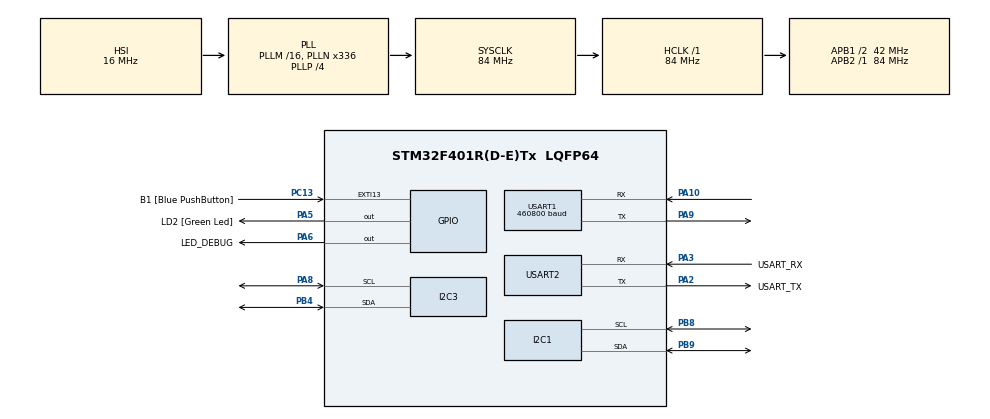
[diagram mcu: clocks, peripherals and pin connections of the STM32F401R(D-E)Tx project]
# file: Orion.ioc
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Dma.Request0=USART1_RX
Dma.Request1=USART1_TX
Dma.USART1_RX.0.Direction=DMA_PERIPH_TO_MEMORY
Dma.USART1_RX.0.FIFOMode=DMA_FIFOMODE_DISABLE
Dma.USART1_RX.0.Instance=DMA2_Stream2
Dma.USART1_RX.0.MemDataAlignment=DMA_MDATAALIGN_BYTE
Dma.USART1_RX.0.MemInc=DMA_MINC_ENABLE
Dma.USART1_RX.0.Mode=DMA_CIRCULAR
Dma.USART1_RX.0.PeriphDataAlignment=DMA_PDATAALIGN_BYTE
Dma.USART1_RX.0.PeriphInc=DMA_PINC_DISABLE
Dma.USART1_RX.0.Priority=DMA_PRIORITY_LOW
Dma.USART1_TX.1.Direction=DMA_MEMORY_TO_PERIPH
Dma.USART1_TX.1.FIFOMode=DMA_FIFOMODE_DISABLE
Dma.USART1_TX.1.Instance=DMA2_Stream7
Dma.USART1_TX.1.MemDataAlignment=DMA_MDATAALIGN_BYTE
Dma.USART1_TX.1.MemInc=DMA_MINC_ENABLE
Dma.USART1_TX.1.Mode=DMA_NORMAL
Dma.USART1_TX.1.PeriphDataAlignment=DMA_PDATAALIGN_BYTE
Dma.USART1_TX.1.PeriphInc=DMA_PINC_DISABLE
Dma.USART1_TX.1.Priority=DMA_PRIORITY_LOW
FREERTOS.Mutexes01=cmdMutex,Dynamic,NULL,Available;imuMutex,Dynamic,NULL,Available;batteryMutex,Dynamic,NULL,Available
FREERTOS.Tasks01=controlTask,48,256,StartControlTask,Default,NULL,Dynamic,NULL,NULL;imuTask,8,256,StartIMUTask,Default,NULL,Dynamic,NULL,NULL;rxCommTask,40,128,StartRxCommTask,Default,NULL,Dynamic,NULL,NULL;batteryTask,9,256,StartBatteryTask,Default,NULL,Dynamic,NULL,NULL;txCommTask,24,128,StartTxCommTask,Default,NULL,Dynamic,NULL,NULL
FREERTOS.configENABLE_FPU=1
I2C1.I2C_Mode=I2C_Fast
I2C3.I2C_Mode=I2C_Fast
Mcu.Family=STM32F4
Mcu.Name=STM32F401R(D-E)Tx
Mcu.Package=LQFP64
NVIC.DMA2_Stream2_IRQn=true\:5\:0\:false\:false\:true\:true\:false\:true\:true
NVIC.DMA2_Stream7_IRQn=true\:5\:0\:false\:false\:true\:true\:false\:true\:true
NVIC.PriorityGroup=NVIC_PRIORITYGROUP_4
NVIC.TIM2_IRQn=true\:15\:0\:false\:false\:true\:false\:false\:true\:true
NVIC.TimeBase=TIM2_IRQn
NVIC.TimeBaseIP=TIM2
NVIC.USART1_IRQn=true\:5\:0\:false\:false\:true\:true\:true\:true\:true
PA0-WKUP.GPIO_Label=PWM2/1_Buzzer
PA0-WKUP.Signal=S_TIM2_CH1_ETR
PA10.Mode=Asynchronous
PA10.Signal=USART1_RX
PA13.GPIO_Label=TMS
PA13.Mode=Trace_Asynchronous_SW
PA13.Signal=SYS_JTMS-SWDIO
PA14.GPIO_Label=TCK
PA14.Mode=Trace_Asynchronous_SW
PA14.Signal=SYS_JTCK-SWCLK
PA2.GPIO_Label=USART_TX
PA2.GPIO_Mode=GPIO_MODE_AF_PP
PA2.GPIO_PuPd=GPIO_NOPULL
PA2.GPIO_Speed=GPIO_SPEED_FREQ_LOW
PA2.Mode=Asynchronous
PA2.Signal=USART2_TX
PA3.GPIO_Label=USART_RX
PA3.GPIO_Mode=GPIO_MODE_AF_PP
PA3.GPIO_PuPd=GPIO_NOPULL
PA3.GPIO_Speed=GPIO_SPEED_FREQ_LOW
PA3.Mode=Asynchronous
PA3.Signal=USART2_RX
PA5.GPIO_Label=LD2 [Green Led]
PA5.GPIO_Mode=GPIO_MODE_OUTPUT_PP
PA5.GPIO_PuPd=GPIO_NOPULL
PA5.GPIO_Speed=GPIO_SPEED_FREQ_LOW
PA5.Signal=GPIO_Output
PA6.GPIO_Label=LED_DEBUG
PA6.Signal=GPIO_Output
PA8.Mode=I2C
PA8.Signal=I2C3_SCL
PA9.Mode=Asynchronous
PA9.Signal=USART1_TX
PB3.GPIO_Label=SWO
PB3.Mode=Trace_Asynchronous_SW
PB3.Signal=SYS_JTDO-SWO
PB4.Mode=I2C
PB4.Signal=I2C3_SDA
PB8.Mode=I2C
PB8.Signal=I2C1_SCL
PB9.Mode=I2C
PB9.Signal=I2C1_SDA
PC13-ANTI_TAMP.GPIO_Label=B1 [Blue PushButton]
PC13-ANTI_TAMP.GPIO_ModeDefaultEXTI=GPIO_MODE_IT_FALLING
PC13-ANTI_TAMP.GPIO_PuPd=GPIO_NOPULL
PC13-ANTI_TAMP.Signal=GPXTI13
PC14-OSC32_IN.Mode=LSE-External-Oscillator
PC14-OSC32_IN.Signal=RCC_OSC32_IN
PC15-OSC32_OUT.Mode=LSE-External-Oscillator
PC15-OSC32_OUT.Signal=RCC_OSC32_OUT
PH0\ -\ OSC_IN.Mode=HSE-External-Clock-Source
PH0\ -\ OSC_IN.Signal=RCC_OSC_IN
PH1\ -\ OSC_OUT.Mode=HSE-External-Clock-Source
PH1\ -\ OSC_OUT.Signal=RCC_OSC_OUT
ProjectManager.HeapSize=0x200
ProjectManager.StackSize=0x400
ProjectManager.TargetToolchain=CMake
RCC.48MHZClocksFreq_Value=48000000
RCC.AHBFreq_Value=84000000
RCC.APB1CLKDivider=RCC_HCLK_DIV2
RCC.APB1Freq_Value=42000000
RCC.APB1TimFreq_Value=84000000
RCC.APB2Freq_Value=84000000
RCC.APB2TimFreq_Value=84000000
RCC.CortexFreq_Value=84000000
RCC.HCLKFreq_Value=84000000
RCC.HSE_VALUE=8000000
RCC.HSI_VALUE=16000000
RCC.PLLN=336
RCC.PLLP=RCC_PLLP_DIV4
RCC.PLLQ=7
RCC.SYSCLKFreq_VALUE=84000000
RCC.SYSCLKSource=RCC_SYSCLKSOURCE_PLLCLK
RCC.VCOOutputFreq_Value=336000000
SH.S_TIM2_CH1_ETR.0=TIM2_CH1
USART1.BaudRate=460800
USART1.VirtualMode=VM_ASYNC
USART2.VirtualMode=VM_ASYNC
VP_FREERTOS_VS_CMSIS_V2.Mode=CMSIS_V2
VP_SYS_VS_tim2.Mode=TIM2
board=NUCLEO-F401RE

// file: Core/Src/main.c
/* USER CODE BEGIN Header */
/**
  ******************************************************************************
  * @file           : main.c
  * @brief          : Main program body
  ******************************************************************************
  * @attention
  *
  * Copyright (c) 2025 STMicroelectronics.
  * All rights reserved.
  *
  * This software is licensed under terms that can be found in the LICENSE file
  * in the root directory of this software component.
  * If no LICENSE file comes with this software, it is provided AS-IS.
  *
  ******************************************************************************
  */
/* USER CODE END Header */
#include "main.h"
#include "cmsis_os.h"
#include "dma.h"
#include "i2c.h"
#include "usart.h"
#include "gpio.h"

void SystemClock_Config(void);
void MX_FREERTOS_Init(void);

int main(void)
{

  /* MCU Configuration--------------------------------------------------------*/

  /* Reset of all peripherals, Initializes the Flash interface and the Systick. */
  HAL_Init();

  /* Configure the system clock */
  SystemClock_Config();

  /* Initialize all configured peripherals */
  MX_GPIO_Init();
  MX_DMA_Init();
  MX_USART2_UART_Init();
  MX_I2C1_Init();
  MX_I2C3_Init();
  MX_USART1_UART_Init();

  /* Init scheduler */
  osKernelInitialize();  /* Call init function for freertos objects (in cmsis_os2.c) */
  MX_FREERTOS_Init();

  /* Start scheduler */
  osKernelStart();

  /* We should never get here as control is now taken by the scheduler */

  /* Infinite loop */
  while (1)
  {

  }
}

void SystemClock_Config(void)
{
  RCC_OscInitTypeDef RCC_OscInitStruct = {0};
  RCC_ClkInitTypeDef RCC_ClkInitStruct = {0};

  /** Configure the main internal regulator output voltage
  */
  __HAL_RCC_PWR_CLK_ENABLE();
  __HAL_PWR_VOLTAGESCALING_CONFIG(PWR_REGULATOR_VOLTAGE_SCALE2);

  /** Initializes the RCC Oscillators according to the specified parameters
  * in the RCC_OscInitTypeDef structure.
  */
  RCC_OscInitStruct.OscillatorType = RCC_OSCILLATORTYPE_HSI;
  RCC_OscInitStruct.HSIState = RCC_HSI_ON;
  RCC_OscInitStruct.HSICalibrationValue = RCC_HSICALIBRATION_DEFAULT;
  RCC_OscInitStruct.PLL.PLLState = RCC_PLL_ON;
  RCC_OscInitStruct.PLL.PLLSource = RCC_PLLSOURCE_HSI;
  RCC_OscInitStruct.PLL.PLLM = 16;
  RCC_OscInitStruct.PLL.PLLN = 336;
  RCC_OscInitStruct.PLL.PLLP = RCC_PLLP_DIV4;
  RCC_OscInitStruct.PLL.PLLQ = 7;
  if (HAL_RCC_OscConfig(&RCC_OscInitStruct) != HAL_OK)
  {
    Error_Handler();
  }

  /** Initializes the CPU, AHB and APB buses clocks
  */
  RCC_ClkInitStruct.ClockType = RCC_CLOCKTYPE_HCLK|RCC_CLOCKTYPE_SYSCLK
                              |RCC_CLOCKTYPE_PCLK1|RCC_CLOCKTYPE_PCLK2;
  RCC_ClkInitStruct.SYSCLKSource = RCC_SYSCLKSOURCE_PLLCLK;
  RCC_ClkInitStruct.AHBCLKDivider = RCC_SYSCLK_DIV1;
  RCC_ClkInitStruct.APB1CLKDivider = RCC_HCLK_DIV2;
  RCC_ClkInitStruct.APB2CLKDivider = RCC_HCLK_DIV1;

  if (HAL_RCC_ClockConfig(&RCC_ClkInitStruct, FLASH_LATENCY_2) != HAL_OK)
  {
    Error_Handler();
  }
}

void HAL_TIM_PeriodElapsedCallback(TIM_HandleTypeDef *htim)
{
  if (htim->Instance == TIM2)
  {
    HAL_IncTick();
  }
}

void Error_Handler(void)
{
  __disable_irq();
  while (1)
  {
  }
}

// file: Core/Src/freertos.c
/* USER CODE BEGIN Header */
/**
  ******************************************************************************
  * File Name          : freertos.c
  * Description        : Code for freertos applications
  ******************************************************************************
  * @attention
  *
  * Copyright (c) 2026 STMicroelectronics.
  * All rights reserved.
  *
  * This software is licensed under terms that can be found in the LICENSE file
  * in the root directory of this software component.
  * If no LICENSE file comes with this software, it is provided AS-IS.
  *
  ******************************************************************************
  */
/* USER CODE END Header */

#include "FreeRTOS.h"
#include "task.h"
#include "main.h"
#include "cmsis_os.h"

/* USER CODE BEGIN Includes */
#include "pca9685.h"
#include "i2c.h"
#include "LegMotion.h"
#include "BodyIK.h"
#include "imu.h"
#include "ina3221.h"
#include "string.h"
/* USER CODE END Includes */

/* USER CODE BEGIN Variables */
extern I2C_HandleTypeDef hi2c1;   // PCA driver is on I2C1
extern I2C_HandleTypeDef hi2c3;   // I2C3 is used for IMU and voltage monitors
extern UART_HandleTypeDef huart2; // HUART1 is used for Jetson, so use HUART2 for debug prints
extern UART_HandleTypeDef huart1; // The UART connected to the Jetson

IMU_OrientationTypeDef current_imu_orientation; // Global variable to hold the latest IMU orientation
INA3221_ReadingsTypeDef current_battery_readings; // Global variable to hold the latest battery readings

// Struct matching the Jetson packet (1 byte type + 36 bytes floats)
// Packed to ensure no padding bytes are added by the compiler, which would break parsing
struct __attribute__((packed)) CmdPayload {
    uint8_t cmd_type;
    float lin_x;
    float lin_y;
    float ang_z;
    float roll;
    float pitch;
    float yaw;
    float z_offset;
    float x_offset;
    float y_offset;
    float pivot_x;
    float pivot_y;
};

#define CMD_NORMAL 0x01
#define CMD_RESET 0x02
#define CMD_WAVE 0x03
#define CMD_HEEL 0x04
#define CMD_DANCE 0x05
#define CMD_EXTRAS 0x06
#define CMD_EYES 0x07
#define CMD_BOOTUP 0x08
#define CMD_AUTONOMY 0x09  // Autonomous navigation mode: same trot gait as CMD_NORMAL

// DMA Buffer and tracking
#define DMA_RX_BUFFER_SIZE 64 // Larger than the expected command size to ensure no bytes are missed
uint8_t dma_rx_buffer[DMA_RX_BUFFER_SIZE]; // Circular Queue for DMA reception of UART data
uint16_t old_pos = 0;

// RX Parser state machine variables
#define PAYLOAD_SIZE 45
uint8_t payload_buffer[PAYLOAD_SIZE]; // Queue to hold incoming payload bytes
uint8_t payload_index = 0;
int parser_state = 0;

// Parsed command storage
struct CmdPayload last_cmd; // Struct to hold the payload data cleanly
volatile int new_cmd_ready = 0; // Flag to indicate a new command is ready // Not used right now
uint32_t last_cmd_timestamp_ms = 0; // Extra safety to prevent stale commands

// TX telemetry
#define TELEM_PKT_SIZE 99  // 2 header + 96 payload + 1 checksum
static uint8_t telem_tx_buf[TELEM_PKT_SIZE]; // Must be static/global for DMA

// volatile uint32_t checksum_errors = 0;
// volatile uint32_t uart_errors = 0;

/* USER CODE END Variables */
/* Definitions for controlTask */
osThreadId_t controlTaskHandle;
const osThreadAttr_t controlTask_attributes = {
  .name = "controlTask",
  .stack_size = 256 * 4,
  .priority = (osPriority_t) osPriorityRealtime,
};
/* Definitions for imuTask */
osThreadId_t imuTaskHandle;
const osThreadAttr_t imuTask_attributes = {
  .name = "imuTask",
  .stack_size = 256 * 4,
  .priority = (osPriority_t) osPriorityLow,
};
/* Definitions for rxCommTask */
osThreadId_t rxCommTaskHandle;
const osThreadAttr_t rxCommTask_attributes = {
  .name = "rxCommTask",
  .stack_size = 128 * 4,
  .priority = (osPriority_t) osPriorityHigh,
};
/* Definitions for batteryTask */
osThreadId_t batteryTaskHandle;
const osThreadAttr_t batteryTask_attributes = {
  .name = "batteryTask",
  .stack_size = 256 * 4,
  .priority = (osPriority_t) osPriorityLow1,
};
/* Definitions for txCommTask */
osThreadId_t txCommTaskHandle;
const osThreadAttr_t txCommTask_attributes = {
  .name = "txCommTask",
  .stack_size = 128 * 4,
  .priority = (osPriority_t) osPriorityNormal,
};
/* Definitions for cmdMutex */
osMutexId_t cmdMutexHandle;
const osMutexAttr_t cmdMutex_attributes = {
  .name = "cmdMutex"
};
/* Definitions for imuMutex */
osMutexId_t imuMutexHandle;
const osMutexAttr_t imuMutex_attributes = {
  .name = "imuMutex"
};
/* Definitions for batteryMutex */
osMutexId_t batteryMutexHandle;
const osMutexAttr_t batteryMutex_attributes = {
  .name = "batteryMutex"
};

void StartControlTask(void *argument);
void StartIMUTask(void *argument);
void StartRxCommTask(void *argument);
void StartBatteryTask(void *argument);
void StartTxCommTask(void *argument);

void MX_FREERTOS_Init(void); /* (MISRA C 2004 rule 8.1) */

void MX_FREERTOS_Init(void) {
  /* Create the mutex(es) */
  /* creation of cmdMutex */
  cmdMutexHandle = osMutexNew(&cmdMutex_attributes);

  /* creation of imuMutex */
  imuMutexHandle = osMutexNew(&imuMutex_attributes);

  /* creation of batteryMutex */
  batteryMutexHandle = osMutexNew(&batteryMutex_attributes);

  /* Create the thread(s) */
  /* creation of controlTask */
  controlTaskHandle = osThreadNew(StartControlTask, NULL, &controlTask_attributes);

  /* creation of imuTask */
  imuTaskHandle = osThreadNew(StartIMUTask, NULL, &imuTask_attributes);

  /* creation of rxCommTask */
  rxCommTaskHandle = osThreadNew(StartRxCommTask, NULL, &rxCommTask_attributes);

  /* creation of batteryTask */
  batteryTaskHandle = osThreadNew(StartBatteryTask, NULL, &batteryTask_attributes);

  /* creation of txCommTask */
  txCommTaskHandle = osThreadNew(StartTxCommTask, NULL, &txCommTask_attributes);

}

void StartControlTask(void *argument)
{
  /* USER CODE BEGIN StartControlTask */
  osDelay(2000); // wait peripherals up
  I2C_Scan(&hi2c1, &huart2);
  I2C_Scan(&hi2c3, &huart2);
  PCA9685_Init(&hi2c1, PCA9685_I2C_ADDRESS, 0);
  PCA9685_SetOscillatorFrequency(27000000);
  PCA9685_SetPWMFreq(50.0f);

  LegIK_HardwareInit(); // Init the IK leg structs
  struct CmdPayload active_cmd = {0}; // Struct to hold the currently active command
  static uint8_t prev_cmd_type = CMD_RESET;

  // OPTIONAL: Explicitly turn off ALL 16 channels at startup so they don't hold old positions
  // for (uint8_t i = 0; i < 16; i++) {
  //     PCA9685_SetPWM(i, 0, 4096); // 4096 turns the pin fully OFF
  // }

  // Center all 12 servos
  // centerAllServos();

  // Variables for body control
  // float pitch = 0.0f;
  // float roll = 0.0f;
  // float yaw = 0.0f;
  // float z_translation = 0.0f;

  // standingPose(); // Drive to neutral pose

  osDelay(2000);

  /* Infinite loop */
  for(;;)
  {
    HAL_GPIO_TogglePin(LD2_GPIO_Port, LD2_Pin);

    // Safely copy the latest command from the commTask
    osMutexAcquire(cmdMutexHandle, osWaitForever);
    active_cmd = last_cmd;
    osMutexRelease(cmdMutexHandle);

    // If more than 500 milliseconds have passed since the last valid command,
    // stop the robot for safety
    if ((HAL_GetTick() - last_cmd_timestamp_ms) > 500) {
        active_cmd.cmd_type = CMD_RESET;
        active_cmd.lin_x = 0.0f;
        active_cmd.lin_y = 0.0f;
        active_cmd.ang_z = 0.0f;
        active_cmd.roll = 0.0f;
        active_cmd.pitch = 0.0f;
        active_cmd.yaw = 0.0f;
        active_cmd.z_offset = 0.0f;
    }

    // Smooth the target height, tilt, and translation values using an Exponential Moving Average (EMA)
    static float smooth_z = 0.0f;
    static float smooth_roll = 0.0f;
    static float smooth_pitch = 0.0f;
    static float smooth_yaw = 0.0f;
    static float smooth_x_offset = 0.0f;
    static float smooth_y_offset = 0.0f;
    // Filter coefficient (0.0 < alpha <= 1.0)
    // 0.15 at 50Hz gives a smooth transition over ~130ms while remaining responsive
    const float alpha = 0.15f;
    smooth_z        += alpha * (-active_cmd.z_offset - smooth_z); // Jetson sends + to lift body up. Inverse IK matrix requires -z_offset to pull body up.
    smooth_roll     += alpha * (active_cmd.roll - smooth_roll);
    smooth_pitch    += alpha * (active_cmd.pitch - smooth_pitch);
    smooth_yaw      += alpha * (active_cmd.yaw - smooth_yaw);
    smooth_x_offset += alpha * (active_cmd.x_offset - smooth_x_offset);
    smooth_y_offset += alpha * (active_cmd.y_offset - smooth_y_offset);

    // Process Kinematics and Motion state machine based on cmd_type
    switch(active_cmd.cmd_type)
    {
        case CMD_AUTONOMY: // Same trot gait as CMD_NORMAL
        case CMD_NORMAL:
            {
                float target_feet[4][3];

                // Calculate raw gait foot trajectory paths relative to default stance
                calculateTrotGaitPositions(active_cmd.lin_x, active_cmd.lin_y, active_cmd.ang_z, target_feet);

                // Stream footprints through orientation matrix to apply Roll/Pitch/Yaw (using smoothed parameters)
                updateBodyPostureWithFeet(target_feet, 0.0f, 0.0f, smooth_z,
                                          smooth_roll, smooth_pitch, smooth_yaw,
                                          active_cmd.pivot_x, active_cmd.pivot_y, 0.0f);
                // Non-smoothing code:
                // // Relative Height Conversion.
                // // Jetson sends + to lift body up. Inverse IK matrix requires -transZ to pull body up.
                // float transZ = -active_cmd.z_offset;

                // // Stream footprints through orientation matrix to apply Roll/Pitch/Yaw
                // updateBodyPostureWithFeet(target_feet, 0.0f, 0.0f, transZ,
                //                           active_cmd.roll, active_cmd.pitch, active_cmd.yaw,
                //                           active_cmd.pivot_x, active_cmd.pivot_y, 0.0f);
            }
            break;

        case CMD_EXTRAS:
            {
                // In extras mode, handle relative height translation and body shifts (using smoothed parameters)
                updateBodyPosture(smooth_x_offset, smooth_y_offset, smooth_z,
                                  smooth_roll, smooth_pitch, smooth_yaw,
                                  active_cmd.pivot_x, active_cmd.pivot_y, 0.0f);
            }
            break;

        case CMD_WAVE:
            {
                float target_feet[4][3];

                // Tell the function to restart the animation if we JUST switched to wave mode
                bool just_started = (prev_cmd_type != CMD_WAVE);

                float shiftX = 0.0f;
                float shiftY = 0.0f;
                float shiftZ = 0.0f;
                float roll = 0.0f;
                float pitch = 0.0f;
                float tibia_angle = -1.0f;
                calculateWavePositions(target_feet, &shiftX, &shiftY, &shiftZ, &roll, &pitch, &tibia_angle, just_started);
                float transZ = 0.0f; // -active_cmd.z_offset // Ignore initial Z offset for wave
                updateBodyPostureWithFeet(target_feet, shiftX, shiftY, transZ + shiftZ,
                                          active_cmd.roll + roll, active_cmd.pitch + pitch, active_cmd.yaw,
                                          0.0f, 0.0f, 0.0f);

                // If Phase 3 is active, override the Tibia servo angle with the waving angle
                if (tibia_angle >= 0.0f) {
                    setServoAngle(CH_FR_TIBIA, tibia_angle);
                }
            }
            break;

        case CMD_HEEL:
            heelingPose();
            break;

        case CMD_DANCE:
            // TODO: Implement dance
            break;

        case CMD_RESET:
        default:
            standingPose(); // Safely return to flat, neutral stance
            break;

        case CMD_EYES:
            break;

        case CMD_BOOTUP:
          // TODO
          break;
    }

    // Update previous command tracker for the next loop iteration
    prev_cmd_type = active_cmd.cmd_type;

    // Clean, structured Debug Print to UART2
    // char debug_msg[128];
    // int n = snprintf(debug_msg, sizeof(debug_msg),
    //                  "Mode: 0x%02X | X: %d | Y: %d | Yaw: %d | Z_Offset: %dmm\r\n",
    //                  active_cmd.cmd_type,
    //                  (int)(active_cmd.lin_x * 100),
    //                  (int)(active_cmd.lin_y * 100),
    //                  (int)(active_cmd.yaw * 100),
    //                  (int)(active_cmd.z_offset));
    // HAL_UART_Transmit(&huart2, (uint8_t*)debug_msg, (uint16_t)n, 10);

    // static uint32_t last_error_print = 0;
    // if (HAL_GetTick() - last_error_print > 500) {
    //     last_error_print = HAL_GetTick();
    //     char err_msg[64];
    //     int n = snprintf(err_msg, sizeof(err_msg), "CS_Err: %lu | UART_Err: %lu\r\n", checksum_errors, uart_errors);
    //     HAL_UART_Transmit(&huart2, (uint8_t*)err_msg, (uint16_t)n, 10);
    // }

    // --- Debug Print Battery Values ---
    // static uint32_t last_batt_print = 0;
    // if (HAL_GetTick() - last_batt_print > 1000) { // Print every 1 second
    //     last_batt_print = HAL_GetTick();

    //     // Safely copy the global readings
    //     INA3221_ReadingsTypeDef batt;
    //     osMutexAcquire(batteryMutexHandle, osWaitForever);
    //     batt = current_battery_readings;
    //     osMutexRelease(batteryMutexHandle);

    //     // Format and transmit (printing all 9 channels)
    //     char batt_msg[128];
    //     int len = snprintf(batt_msg, sizeof(batt_msg),
    //                        "Batt: %d.%02d, %d.%02d, %d.%02d | %d.%02d, %d.%02d, %d.%02d | %d.%02d, %d.%02d, %d.%02d\r\n",
    //                        (int)batt.bus_voltage_V[0], (int)(batt.bus_voltage_V[0]*100)%100,
    //                        (int)batt.bus_voltage_V[1], (int)(batt.bus_voltage_V[1]*100)%100,
    //                        (int)batt.bus_voltage_V[2], (int)(batt.bus_voltage_V[2]*100)%100,
    //                        (int)batt.bus_voltage_V[3], (int)(batt.bus_voltage_V[3]*100)%100,
    //                        (int)batt.bus_voltage_V[4], (int)(batt.bus_voltage_V[4]*100)%100,
    //                        (int)batt.bus_voltage_V[5], (int)(batt.bus_voltage_V[5]*100)%100,
    //                        (int)batt.bus_voltage_V[6], (int)(batt.bus_voltage_V[6]*100)%100,
    //                        (int)batt.bus_voltage_V[7], (int)(batt.bus_voltage_V[7]*100)%100,
    //                        (int)batt.bus_voltage_V[8], (int)(batt.bus_voltage_V[8]*100)%100);
    //     HAL_UART_Transmit(&huart2, (uint8_t*)batt_msg, (uint16_t)len, 100);
    // }

    osDelay(20); // Steady 50Hz control loop cycle execution

    // char msg2[64];
    // int n2 = snprintf(msg2, sizeof(msg2), "Orientation is Y: %d, P: %d, R: %d\r\n", (int)current_imu_orientation.yaw, (int)current_imu_orientation.pitch, (int)current_imu_orientation.roll);
    // HAL_UART_Transmit(&huart2, (uint8_t*)msg2, (uint16_t)n2, PCA9685_I2C_TIMEOUT_MS);

    // ********* Body Update Tests ***********
    // float time = (float)HAL_GetTick() / 1000.0f;
    // // Example: Slowly pitch the front of the body up and down using a sine wave
    // pitch = sinf(time * 5.0f) * 0.2f;
    // z_translation = -sinf(time * 5.0f) * 20.0f;
    // updateBodyPosture(0.0f, 0.0f, z_translation, roll, pitch, yaw, 0.0f, 0.0f, 0.0f);
    // heelingPose();
    // Example: Yaw the body left and right
    // yaw = sinf(time * 5.0f) * 0.3f;
    // Example: Roll the body left and right
    // roll = sinf(time * 5.0f) * 0.2f;
    // updateBodyPosture(0.0f, 0.0f, z_translation, roll, pitch, yaw, 248.5f/2.0f, -165.2f/2.0f, 0.0f);
    // osDelay(20);
    // waveFrontRightLeg();
    // osDelay(1000);

    // *********** STEPPING TEST ***********
    // sineStepGait();
    // Since the gait commands themselves have interpolation delays,
    // we do not need a big delay here
  }
  /* USER CODE END StartControlTask */
}

void StartIMUTask(void *argument)
{
  /* USER CODE BEGIN StartIMUTask */

  osDelay(2000);
  IMU_Init(&hi2c3, &huart2);
  IMU_OrientationTypeDef imu_orientation;

  /* Infinite loop */
  for(;;)
  {
    IMU_ReadOrientation(&hi2c3, &imu_orientation);

    osMutexAcquire(imuMutexHandle, osWaitForever);
    current_imu_orientation = imu_orientation;
    osMutexRelease(imuMutexHandle);

    osDelay(10); // 100Hz read rate
  }
  /* USER CODE END StartIMUTask */
}

void StartRxCommTask(void *argument)
{
  /* USER CODE BEGIN StartRxCommTask */

  // Start continuous DMA reception on USART1 in the background
  HAL_UART_Receive_DMA(&huart1, dma_rx_buffer, DMA_RX_BUFFER_SIZE);

  /* Infinite loop */
  for(;;)
  {
    // Check where the DMA currently is writing.
    // __HAL_DMA_GET_COUNTER returns the number of bytes REMAINING in the buffer before
    // it wraps around, so subtract from total size to get the current position.
    uint16_t current_pos = DMA_RX_BUFFER_SIZE - __HAL_DMA_GET_COUNTER(huart1.hdmarx);

    // current_pos is the REAR of the queue where new bytes are being written,
    // old_pos is the FRONT of the queue where we are reading from.

    // Process all new bytes that have arrived since we last checked
    // (i.e. until our REAR catches up to the FRONT)
    while (old_pos != current_pos) {
        uint8_t rx_byte = dma_rx_buffer[old_pos];

        // State machine to find headers, read payload, and check checksum
        switch(parser_state) {
            // This order of 0x55 and 0xAA represents tranmission from jetson to STM
            // Looking for Header 1 (0x55)
            // If 1st header byte was found, set state to 1 to look for 2nd header byte
            case 0:
                if (rx_byte == 0x55) parser_state = 1;
                break;

            // Looking for Header 2 (0xAA).
            // If found, set state to 2 to start reading payload bytes
            // If not found, look for header 1 again
            case 1:
                if (rx_byte == 0xAA) {
                    parser_state = 2;
                    payload_index = 0;
                } else if (rx_byte != 0x55) {
                    parser_state = 0;
                }
                break;

            // Reading Payload (PAYLOAD_SIZE bytes)
            // Once payload is full, verify checksum (state 3)
            case 2:
                payload_buffer[payload_index++] = rx_byte;
                if (payload_index >= PAYLOAD_SIZE) {
                    parser_state = 3;
                }
                break;

            // - Verify Checksum (parity)
            // - Safely copy bytes from payload_buffer directly into the last_cmd struct to
            //   avoid alignment HardFaults. Use mutex to prevent race conditions.
            //   Payload_buffer is just a byte array, no gaurantee of correct alignment for
            //   struct access, so use memcpy which can handle unaligned access.
            // - Set a flag to indicate data is ready for use
            // - Reset state machine for next packet
            case 3:
                uint8_t received_checksum = rx_byte;
                uint8_t calculated_checksum = 0;
                for (int i = 0; i < PAYLOAD_SIZE; i++) {
                    calculated_checksum ^= payload_buffer[i];
                }
                if (calculated_checksum == received_checksum) {
                    osMutexAcquire(cmdMutexHandle, osWaitForever);
                    memcpy(&last_cmd, payload_buffer, sizeof(struct CmdPayload));
                    new_cmd_ready = 1;
                    last_cmd_timestamp_ms = HAL_GetTick();
                    osMutexRelease(cmdMutexHandle);
                }else{
                    // checksum_errors++;
                }
                parser_state = 0;
                break;
        }

        // Advance our read pointer, wrapping around if needed
        old_pos = (old_pos + 1) % DMA_RX_BUFFER_SIZE;
    }

    // Let FreeRTOS give CPU time to other tasks
    osDelay(10); // 100Hz command processing rate
  }
  /* USER CODE END StartRxCommTask */
}

void StartBatteryTask(void *argument)
{
  /* USER CODE BEGIN StartBatteryTask */
  osDelay(2000);
  INA3221_Init(&hi2c3, &huart2);
  INA3221_ReadingsTypeDef readings;

  /* Infinite loop */
  for(;;)
  {
    if (INA3221_ReadAll(&hi2c3, &readings) == HAL_OK) {
      osMutexAcquire(batteryMutexHandle, osWaitForever);
      current_battery_readings = readings;
      osMutexRelease(batteryMutexHandle);
    }
    osDelay(1000); // 1 Hz as battery voltage does not change fast
  }
  /* USER CODE END StartBatteryTask */
}

void StartTxCommTask(void *argument)
{
  /* USER CODE BEGIN StartTxCommTask */
  /* Infinite loop */
  for(;;)
  {
      // Wait for previous DMA transfer to complete
      if (huart1.gState == HAL_UART_STATE_READY) {
          // Snapshot battery readings
          INA3221_ReadingsTypeDef batt_snap;
          osMutexAcquire(batteryMutexHandle, osWaitForever);
          batt_snap = current_battery_readings;
          osMutexRelease(batteryMutexHandle);

          // Snapshot imu reading
          IMU_OrientationTypeDef imu_snap;
          osMutexAcquire(imuMutexHandle, osWaitForever);
          imu_snap = current_imu_orientation;
          osMutexRelease(imuMutexHandle);

          // Snapshot joint angles
          float joint_angles[4][3];
          getJointAngles(joint_angles);

          // Build packet: [0xAA][0x55][3 floats = 12 bytes][9 floats = 36 bytes][12 floats = 48 bytes][XOR checksum]
          // This particular order represents transmission from STM to jetson
          telem_tx_buf[0] = 0xAA;
          telem_tx_buf[1] = 0x55;
          float telem_floats[24] = {
              imu_snap.roll,
              imu_snap.pitch,
              imu_snap.yaw,
              batt_snap.bus_voltage_V[0],
              batt_snap.bus_voltage_V[1],
              batt_snap.bus_voltage_V[2],
              batt_snap.bus_voltage_V[3],
              batt_snap.bus_voltage_V[4],
              batt_snap.bus_voltage_V[5],
              batt_snap.bus_voltage_V[6],
              batt_snap.bus_voltage_V[7],
              batt_snap.bus_voltage_V[8],
              joint_angles[0][0],
              joint_angles[0][1],
              joint_angles[0][2],
              joint_angles[1][0],
              joint_angles[1][1],
              joint_angles[1][2],
              joint_angles[2][0],
              joint_angles[2][1],
              joint_angles[2][2],
              joint_angles[3][0],
              joint_angles[3][1],
              joint_angles[3][2],
          };

          memcpy(&telem_tx_buf[2], telem_floats, sizeof(telem_floats));

          // Checksum only the payload
          uint8_t cksum = 0;
          for (int i = 2; i < TELEM_PKT_SIZE - 1; i++) {
              cksum ^= telem_tx_buf[i];
          }
          telem_tx_buf[TELEM_PKT_SIZE - 1] = cksum;

          // Fire-and-forget DMA transmit (non-blocking, ~0.9ms at 460800 baud)
          // Needs USART1 global interrupt enabled
          HAL_UART_Transmit_DMA(&huart1, telem_tx_buf, TELEM_PKT_SIZE);

      //     // Debug: Transmit succeeded
      //     char msg[] = "TX Task: Sent via DMA\r\n";
      //     HAL_UART_Transmit(&huart2, (uint8_t*)msg, strlen(msg), 10);
      // } else {
      //     // Debug: UART is stuck busy!
      //     char msg[] = "TX Task: UART1 BUSY!\r\n";
      //     HAL_UART_Transmit(&huart2, (uint8_t*)msg, strlen(msg), 10);
      }
      osDelay(100);
  }
  /* USER CODE END StartTxCommTask */
}

/* USER CODE BEGIN Application */

void HAL_UART_ErrorCallback(UART_HandleTypeDef *huart) {
    if (huart->Instance == USART1) {
        // uart_errors++;

        // Clear overrun and noise flags so DMA reception doesn't lock up
        __HAL_UART_CLEAR_OREFLAG(huart);
        __HAL_UART_CLEAR_NEFLAG(huart);
        __HAL_UART_CLEAR_FEFLAG(huart);

        // Restart circular DMA reception
        HAL_UART_Receive_DMA(huart, dma_rx_buffer, DMA_RX_BUFFER_SIZE);
    }
}

/* USER CODE END Application */
